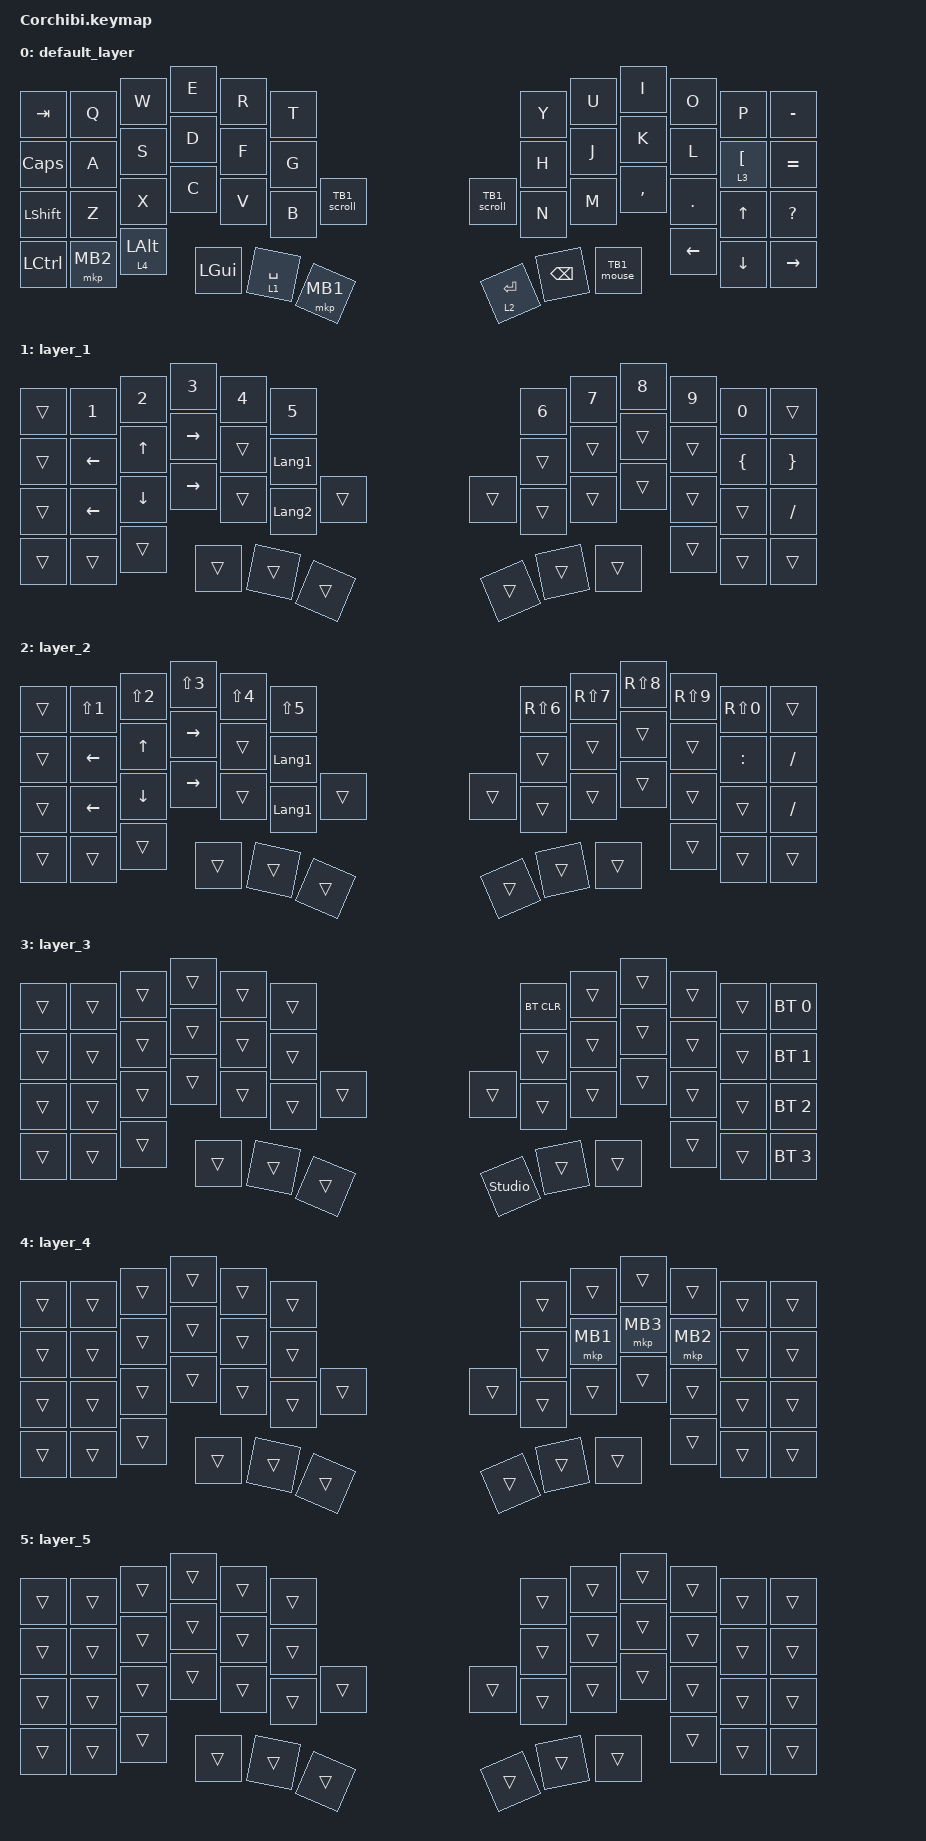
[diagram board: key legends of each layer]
#include <dt-bindings/zmk/mouse.h>
#include <behaviors.dtsi>
#include <dt-bindings/zmk/bt.h>
#include <dt-bindings/zmk/keys.h>
#include <dt-bindings/zmk/pointing.h>

/ {
    behaviors {
        TB1_mouse: TB1_mouse {
            compatible = "zmk,behavior-none";
            label = "TB19M";
            #binding-cells = <0>;
        };

        TB1_scroll: TB1_scroll {
            compatible = "zmk,behavior-none";
            #binding-cells = <0>;
        };

        TB2_mouse: TB2_mouse {
            compatible = "zmk,behavior-none";
            #binding-cells = <0>;
        };

        TB2_scroll: TB2_scroll {
            compatible = "zmk,behavior-none";
            #binding-cells = <0>;
        };
    };

    combos {
        compatible = "zmk,combos";

        L1 {
            bindings = <&kp LANGUAGE_1>;
            key-positions = <23 12>;
        };

        L2 {
            bindings = <&kp LANGUAGE_2>;
            key-positions = <16 13>;
        };

        bl {
            bindings = <&kp LEFT_BRACE>;
            key-positions = <0 20>;
        };

        rbl {
            bindings = <&kp RIGHT_BRACE>;
            key-positions = <4 1>;
        };

        l3 {
            bindings = <&lt 3 LEFT_ALT>;
            key-positions = <17 14>;
        };
    };

    keymap {
        compatible = "zmk,keymap";

        default_layer {
            bindings = <
&kp TAB  &kp CLCK  &kp LSHFT  &kp LCTRL  &kp A  &kp Z  &mkp MB2  &kp W  &kp X  &lt 4 LEFT_ALT  &kp E  &kp D  &kp R  &kp F  &kp V  &kp LEFT_GUI  &kp G  &kp B  &lt 1 SPACE  &TB1_scroll  &kp Q  &kp S  &kp C  &kp T  &mkp MB1  &kp MINUS  &kp EQUAL  &kp QMARK  &kp RIGHT  &lt 3 LEFT_BRACKET  &kp UP  &kp DOWN  &kp O  &kp DOT  &kp LEFT_ARROW  &kp I  &kp K  &kp U  &kp J  &kp M  &TB1_mouse  &kp H  &kp N  &kp BACKSPACE  &TB1_scroll  &kp P  &kp L  &kp COMMA  &kp Y  &lt 2 ENTER
            >;
        };

        layer_1 {
            bindings = <
&trans  &trans  &trans  &trans  &kp LEFT  &kp LEFT  &trans  &kp NUMBER_2  &kp DOWN  &trans  &kp NUMBER_3  &kp RIGHT  &kp NUMBER_4  &trans  &trans  &trans  &kp LANGUAGE_1  &kp LANGUAGE_2  &trans  &trans  &kp NUMBER_1  &kp UP_ARROW  &kp RIGHT  &kp NUMBER_5  &trans  &trans  &kp RIGHT_BRACE  &kp SLASH  &trans  &kp LEFT_BRACE  &trans  &trans  &kp NUMBER_9  &trans  &trans  &kp N8  &trans  &kp NUMBER_7  &trans  &trans  &trans  &trans  &trans  &trans  &trans  &kp NUMBER_0  &trans  &trans  &kp NUMBER_6  &trans
            >;
        };

        layer_2 {
            bindings = <
&trans  &trans  &trans  &trans  &kp LEFT  &kp LEFT  &trans  &kp LS(N2)  &kp DOWN  &trans  &kp LS(NUMBER_3)  &kp RIGHT  &kp LS(NUMBER_4)  &trans  &trans  &trans  &kp LANGUAGE_1  &kp LANGUAGE_1  &trans  &trans  &kp LS(NUMBER_1)  &kp UP_ARROW  &kp RIGHT_ARROW  &kp LS(N5)  &trans  &trans  &kp SLASH  &kp SLASH  &trans  &kp COLON  &trans  &trans  &kp RS(N9)  &trans  &trans  &kp RS(N8)  &trans  &kp RS(N7)  &trans  &trans  &trans  &trans  &trans  &trans  &trans  &kp RS(N0)  &trans  &trans  &kp RS(NUMBER_6)  &trans
            >;
        };

        layer_3 {
            bindings = <
&trans  &trans  &trans  &trans  &trans  &trans  &trans  &trans  &trans  &trans  &trans  &trans  &trans  &trans  &trans  &trans  &trans  &trans  &trans  &trans  &trans  &trans  &trans  &trans  &trans  &bt BT_SEL 0  &bt BT_SEL 1  &bt BT_SEL 2  &bt BT_SEL 3  &trans  &trans  &trans  &trans  &trans  &trans  &trans  &trans  &trans  &trans  &trans  &trans  &trans  &trans  &trans  &trans  &trans  &trans  &trans  &bt BT_CLR  &studio_unlock
            >;
        };

        layer_4 {
            bindings = <
&trans  &trans  &trans  &trans  &trans  &trans  &trans  &trans  &trans  &trans  &trans  &trans  &trans  &trans  &trans  &trans  &trans  &trans  &trans  &trans  &trans  &trans  &trans  &trans  &trans  &trans  &trans  &trans  &trans  &trans  &trans  &trans  &trans  &trans  &trans  &trans  &mkp MB3  &trans  &mkp MB1  &trans  &trans  &trans  &trans  &trans  &trans  &trans  &mkp MB2  &trans  &trans  &trans
            >;
        };

        layer_5 {
            bindings = <
&trans  &trans  &trans  &trans  &trans  &trans  &trans  &trans  &trans  &trans  &trans  &trans  &trans  &trans  &trans  &trans  &trans  &trans  &trans  &trans  &trans  &trans  &trans  &trans  &trans  &trans  &trans  &trans  &trans  &trans  &trans  &trans  &trans  &trans  &trans  &trans  &trans  &trans  &trans  &trans  &trans  &trans  &trans  &trans  &trans  &trans  &trans  &trans  &trans  &trans
            >;
        };
    };
};

// force trigger build
// apply DYA studio fixes
// fix central role and remove advertising config
// fix missing BLE central role
// slim down R config and fix endpoints
// bypass compiler strict warnings for auto_mouse_layer
// fix endpoint count by forcing central role
// remove invalid cmake configs
// remove undefined moNa2 configs
